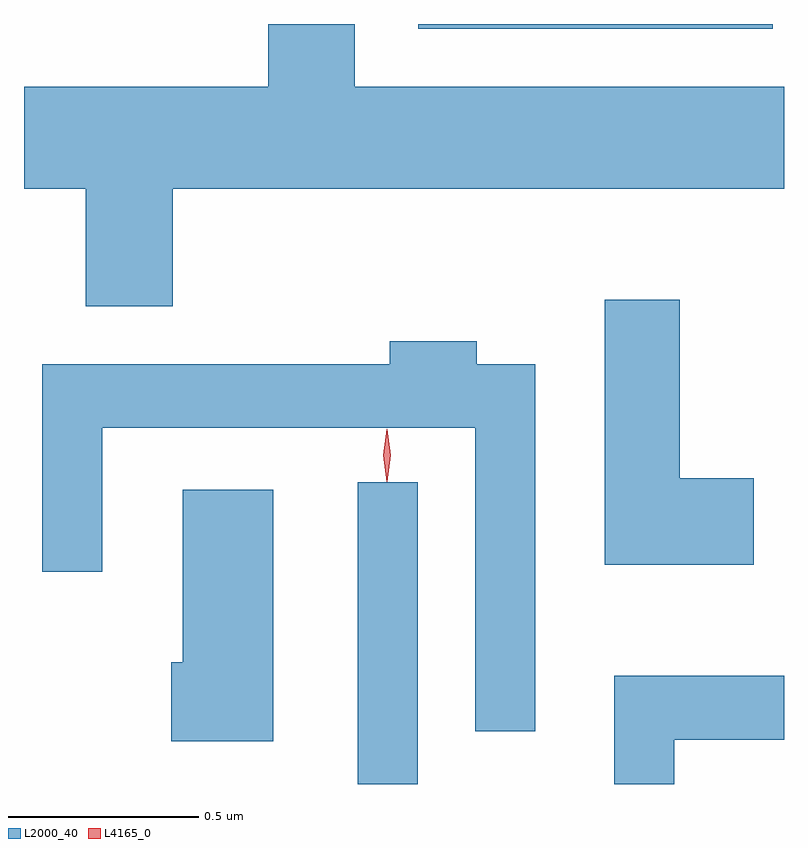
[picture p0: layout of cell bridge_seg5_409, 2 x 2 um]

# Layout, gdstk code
import gdstk
lib = gdstk.Library(unit=1e-6, precision=1e-09)
def R(c, l, rs):  # rectangles x0, y0, x1, y1
    for r in rs: c.add(gdstk.rectangle(r[:2], r[2:], *l))
def P(c, l, *ps):  # polygons
    for p in ps: c.add(gdstk.Polygon(p, *l))
L2000_40 = (2000, 40)
L4165_0 = (4165, 0)

bridge_seg5_409 = lib.new_cell('bridge_seg5_409')
R(bridge_seg5_409, L2000_40, [(482.156,1488.529,482.314,1489.323), (482.316,1490.516,483.248,1490.529)])
P(bridge_seg5_409, L2000_40, [(481.669,1490.096),(483.278,1490.096),(483.278,1490.364),(482.149,1490.364),(482.149,1490.529),(481.921,1490.529),(481.921,1490.364),(481.278,1490.364),(481.278,1490.096),(481.441,1490.096),(481.441,1489.786),(481.669,1489.786)],
  [(483.199,1489.334),(483.004,1489.334),(483.004,1489.804),(482.806,1489.804),(482.806,1489.106),(483.199,1489.106)],
  [(482.624,1489.634),(482.469,1489.634),(482.469,1489.694),(482.241,1489.694),(482.241,1489.634),(481.326,1489.634),(481.326,1489.088),(481.484,1489.088),(481.484,1489.466),(482.466,1489.466),(482.466,1488.668),(482.624,1488.668)],
  [(481.934,1489.304),(481.696,1489.304),(481.696,1488.849),(481.666,1488.849),(481.666,1488.641),(481.934,1488.641)],
  [(482.989,1488.646),(483.278,1488.646),(483.278,1488.814),(482.831,1488.814),(482.831,1488.529),(482.989,1488.529)])
P(bridge_seg5_409, L4165_0, [(482.233,1489.324),(482.233,1489.324),(482.223,1489.394),(482.233,1489.462),(482.233,1489.463),(482.234,1489.462),(482.243,1489.394),(482.234,1489.324)],
  [(482.233,1489.327),(482.233,1489.328),(482.223,1489.394),(482.233,1489.46),(482.233,1489.46),(482.234,1489.46),(482.243,1489.394),(482.234,1489.328)])

lib.write_gds('bridge_seg5_409.gds')
